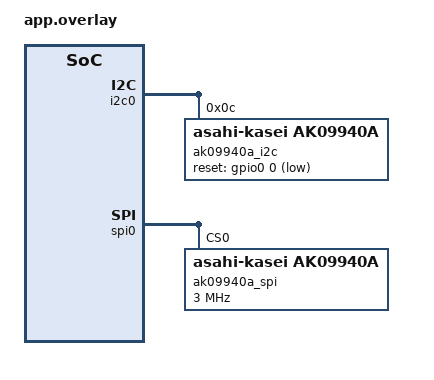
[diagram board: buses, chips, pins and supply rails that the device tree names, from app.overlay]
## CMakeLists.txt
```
# SPDX-FileCopyrightText: Copyright The Zephyr Project Contributors
# SPDX-License-Identifier: Apache-2.0

cmake_minimum_required(VERSION 3.28.0)
find_package(Zephyr REQUIRED HINTS $ENV{ZEPHYR_BASE})
project(ak09940a)

target_sources(app PRIVATE src/main.c)
```

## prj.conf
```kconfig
# SPDX-FileCopyrightText: Copyright The Zephyr Project Contributors
# SPDX-License-Identifier: Apache-2.0

CONFIG_ZTEST=y
CONFIG_EMUL=y
CONFIG_SENSOR=y
CONFIG_SENSOR_ASYNC_API=y
```

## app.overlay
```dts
/*
 * SPDX-FileCopyrightText: Copyright The Zephyr Project Contributors
 * SPDX-License-Identifier: Apache-2.0
 */

&i2c0 {
	ak09940a_i2c: ak09940a@c {
		compatible = "asahi-kasei,ak09940a";
		reg = <0x0c>;
		reset-gpios = <&gpio0 0 GPIO_ACTIVE_LOW>;
		sensor-drive = "low-noise-2";
	};
};

&spi0 {
	ak09940a_spi: ak09940a@0 {
		compatible = "asahi-kasei,ak09940a";
		reg = <0>;
		spi-max-frequency = <3000000>;
		sensor-drive = "ultra-low-power";
	};
};
```

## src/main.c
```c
/*
 * SPDX-FileCopyrightText: Copyright The Zephyr Project Contributors
 * SPDX-License-Identifier: Apache-2.0
 */

#include <zephyr/device.h>
#include <zephyr/devicetree.h>
#include <zephyr/drivers/emul.h>
#include <zephyr/drivers/gpio/gpio_emul.h>
#include <zephyr/drivers/sensor.h>
#include <zephyr/drivers/sensor_data_types.h>
#include <zephyr/rtio/rtio.h>
#include <zephyr/sys/byteorder.h>
#include <zephyr/ztest.h>

#include "ak09940a_emul.h"
#include "ak09940a_reg.h"

#define I2C_NODE DT_NODELABEL(ak09940a_i2c)
#define SPI_NODE DT_NODELABEL(ak09940a_spi)

#define RAW_MAX 131070
#define RAW_MIN (-131072)

struct ak09940a_fixture {
	const struct device *dev;
	const struct emul *target;
	struct rtio_iodev *iodev;
	/* CNTL3 drive bits and fastest continuous mode of the configured sensor drive */
	uint8_t cntl3_mt;
	int32_t max_odr;
	uint8_t max_mode;
};

SENSOR_DT_READ_IODEV(ak09940a_i2c_iodev, I2C_NODE, {SENSOR_CHAN_MAGN_XYZ, 0},
		     {SENSOR_CHAN_DIE_TEMP, 0});
SENSOR_DT_READ_IODEV(ak09940a_spi_iodev, SPI_NODE, {SENSOR_CHAN_MAGN_XYZ, 0},
		     {SENSOR_CHAN_DIE_TEMP, 0});
SENSOR_DT_READ_IODEV(ak09940a_mixed_iodev, I2C_NODE, {SENSOR_CHAN_ACCEL_X, 0},
		     {SENSOR_CHAN_MAGN_XYZ, 0});
SENSOR_DT_READ_IODEV(ak09940a_accel_iodev, I2C_NODE, {SENSOR_CHAN_ACCEL_X, 0});

/* The executor frees a submission after posting its completion, so allow one in flight */
RTIO_DEFINE(ak09940a_rtio, 2, 2);

static const struct ak09940a_fixture fixtures[] = {
	{
		/* low-noise-2 */
		.dev = DEVICE_DT_GET(I2C_NODE),
		.target = EMUL_DT_GET(I2C_NODE),
		.iodev = &ak09940a_i2c_iodev,
		.cntl3_mt = 0x60,
		.max_odr = 200,
		.max_mode = AK09940A_MODE_CONT_200HZ,
	},
	{
		/* ultra-low-power */
		.dev = DEVICE_DT_GET(SPI_NODE),
		.target = EMUL_DT_GET(SPI_NODE),
		.iodev = &ak09940a_spi_iodev,
		.cntl3_mt = 0x00,
		.max_odr = 2500,
		.max_mode = AK09940A_MODE_CONT_2500HZ,
	},
};

static void set_measurement(const struct emul *target, int32_t x, int32_t y, int32_t z, int8_t tmps)
{
	uint8_t regs[10];

	/* 18-bit two's complement, the high byte repeats the sign bit */
	sys_put_le24((uint32_t)x, &regs[0]);
	sys_put_le24((uint32_t)y, &regs[3]);
	sys_put_le24((uint32_t)z, &regs[6]);
	regs[9] = (uint8_t)tmps;
	ak09940a_emul_set_reg(target, AK09940A_REG_HXL, regs, sizeof(regs));
}

static uint8_t get_reg(const struct emul *target, uint8_t reg)
{
	uint8_t val;

	ak09940a_emul_get_reg(target, reg, &val, 1);

	return val;
}

static void assert_value(const struct sensor_value *val, int32_t val1, int32_t val2)
{
	zassert_equal(val->val1, val1, "val1: expected %d, got %d", val1, val->val1);
	zassert_equal(val->val2, val2, "val2: expected %d, got %d", val2, val->val2);
}

static int64_t q31_to_micro(q31_t value, int8_t shift)
{
	return (((int64_t)value << shift) * 1000000) / (INT64_C(1) << 31);
}

static void ak09940a_after(void *f)
{
	const struct sensor_value off = {0};

	ARG_UNUSED(f);

	ARRAY_FOR_EACH_PTR(fixtures, fixture) {
		zassert_ok(sensor_attr_set(fixture->dev, SENSOR_CHAN_MAGN_XYZ,
					   SENSOR_ATTR_SAMPLING_FREQUENCY, &off));
	}
}

ZTEST_SUITE(ak09940a, NULL, NULL, NULL, ak09940a_after, NULL);

ZTEST(ak09940a, test_init)
{
	const struct device *gpio = DEVICE_DT_GET(DT_GPIO_CTLR(I2C_NODE, reset_gpios));

	ARRAY_FOR_EACH_PTR(fixtures, fixture) {
		zassert_true(device_is_ready(fixture->dev));
		/* Temperature measurement enabled */
		zassert_equal(get_reg(fixture->target, AK09940A_REG_CNTL2), AK09940A_CNTL2_TEM);
	}

	/* Reset line released */
	zassert_equal(gpio_emul_output_get(gpio, DT_GPIO_PIN(I2C_NODE, reset_gpios)), 1);

	zassert_equal(get_reg(fixtures[0].target, AK09940A_REG_CNTL1), 0);
	zassert_equal(get_reg(fixtures[0].target, AK09940A_REG_I2CDIS), 0);

	/* Ultra low power drive, I2C interface disabled on SPI */
	zassert_equal(get_reg(fixtures[1].target, AK09940A_REG_CNTL1), AK09940A_CNTL1_MT2);
	zassert_equal(get_reg(fixtures[1].target, AK09940A_REG_I2CDIS), AK09940A_I2CDIS_DISABLE);
}

ZTEST(ak09940a, test_fetch_single)
{
	struct sensor_value magn[3];
	struct sensor_value val;

	ARRAY_FOR_EACH_PTR(fixtures, fixture) {
		set_measurement(fixture->target, RAW_MAX, RAW_MIN, -1, 0);

		zassert_ok(sensor_sample_fetch(fixture->dev));

		/* Single measurement started with the drive bits, then back to power-down */
		zassert_equal(get_reg(fixture->target, AK09940A_REG_CNTL3), fixture->cntl3_mt);
		zassert_equal(get_reg(fixture->target, AK09940A_REG_ST1) & AK099XX_ST1_DRDY, 0);

		/* 10 nT (0.1 mG) per LSB */
		zassert_ok(sensor_channel_get(fixture->dev, SENSOR_CHAN_MAGN_XYZ, magn));
		assert_value(&magn[0], 13, 107000);
		assert_value(&magn[1], -13, -107200);
		assert_value(&magn[2], 0, -100);

		zassert_ok(sensor_channel_get(fixture->dev, SENSOR_CHAN_MAGN_Y, &val));
		assert_value(&val, -13, -107200);

		zassert_ok(sensor_channel_get(fixture->dev, SENSOR_CHAN_DIE_TEMP, &val));
		assert_value(&val, 30, 0);
	}
}

ZTEST(ak09940a, test_fetch_temperature)
{
	/* Temperature = 30 - TMPS / 1.7 */
	static const struct {
		int8_t tmps;
		int32_t val1;
		int32_t val2;
	} cases[] = {
		{1, 29, 411765},
		{-1, 30, 588235},
		{INT8_MAX, -44, -705882},
		{INT8_MIN, 105, 294117},
	};
	struct sensor_value val;

	ARRAY_FOR_EACH_PTR(fixtures, fixture) {
		ARRAY_FOR_EACH_PTR(cases, c) {
			set_measurement(fixture->target, 0, 0, 0, c->tmps);
			zassert_ok(sensor_sample_fetch(fixture->dev));
			zassert_ok(sensor_channel_get(fixture->dev, SENSOR_CHAN_DIE_TEMP, &val));
			assert_value(&val, c->val1, c->val2);
		}
	}
}

ZTEST(ak09940a, test_fetch_continuous)
{
	const struct sensor_value odr = {.val1 = 100};
	const uint8_t st1 = 0;
	struct sensor_value val;

	ARRAY_FOR_EACH_PTR(fixtures, fixture) {
		zassert_ok(sensor_attr_set(fixture->dev, SENSOR_CHAN_MAGN_XYZ,
					   SENSOR_ATTR_SAMPLING_FREQUENCY, &odr));
		zassert_equal(get_reg(fixture->target, AK09940A_REG_CNTL3),
			      fixture->cntl3_mt | AK099XX_MODE_CONT_100HZ);

		/* The data registers hold the last measurement even without DRDY */
		set_measurement(fixture->target, 1000, 0, 0, 0);
		ak09940a_emul_set_reg(fixture->target, AK09940A_REG_ST1, &st1, 1);

		zassert_ok(sensor_sample_fetch(fixture->dev));
		zassert_ok(sensor_channel_get(fixture->dev, SENSOR_CHAN_MAGN_X, &val));
		assert_value(&val, 0, 100000);

		/* No new single measurement was started */
		zassert_equal(get_reg(fixture->target, AK09940A_REG_CNTL3),
			      fixture->cntl3_mt | AK099XX_MODE_CONT_100HZ);
	}
}

ZTEST(ak09940a, test_sampling_frequency)
{
	/* Requests round down to a supported rate, capped by the sensor drive */
	static const struct {
		int32_t request;
		int32_t hz;
		uint8_t mode;
	} cases[] = {
		{0, 0, AK099XX_MODE_POWER_DOWN},
		{1, 10, AK099XX_MODE_CONT_10HZ},
		{20, 20, AK099XX_MODE_CONT_20HZ},
		{99, 50, AK099XX_MODE_CONT_50HZ},
		{150, 100, AK099XX_MODE_CONT_100HZ},
		{200, 200, AK09940A_MODE_CONT_200HZ},
		{999, 400, AK09940A_MODE_CONT_400HZ},
		{1000, 1000, AK09940A_MODE_CONT_1000HZ},
		{5000, 2500, AK09940A_MODE_CONT_2500HZ},
	};
	struct sensor_value val;

	ARRAY_FOR_EACH_PTR(fixtures, fixture) {
		ARRAY_FOR_EACH_PTR(cases, c) {
			const struct sensor_value odr = {.val1 = c->request};
			bool capped = c->hz > fixture->max_odr;
			int32_t hz = capped ? fixture->max_odr : c->hz;
			uint8_t mode = capped ? fixture->max_mode : c->mode;

			zassert_ok(sensor_attr_set(fixture->dev, SENSOR_CHAN_MAGN_XYZ,
						   SENSOR_ATTR_SAMPLING_FREQUENCY, &odr));
			zassert_ok(sensor_attr_get(fixture->dev, SENSOR_CHAN_MAGN_XYZ,
						   SENSOR_ATTR_SAMPLING_FREQUENCY, &val));
			assert_value(&val, hz, 0);
			zassert_equal(get_reg(fixture->target, AK09940A_REG_CNTL3),
				      fixture->cntl3_mt | mode, "request %d Hz", c->request);
		}

		zassert_equal(sensor_attr_set(fixture->dev, SENSOR_CHAN_MAGN_XYZ,
					      SENSOR_ATTR_FULL_SCALE, &val),
			      -ENOTSUP);
	}
}

ZTEST(ak09940a, test_read_decode)
{
	struct sensor_chan_spec magn_spec = {SENSOR_CHAN_MAGN_XYZ, 0};
	struct sensor_chan_spec temp_spec = {SENSOR_CHAN_DIE_TEMP, 0};
	const struct sensor_decoder_api *decoder;
	struct sensor_three_axis_data magn;
	struct sensor_q31_data temp;
	uint8_t buf[64];
	uint32_t fit;

	ARRAY_FOR_EACH_PTR(fixtures, fixture) {
		set_measurement(fixture->target, RAW_MAX, RAW_MIN, -1, INT8_MAX);

		zassert_ok(sensor_read(fixture->iodev, &ak09940a_rtio, buf, sizeof(buf)));
		zassert_ok(sensor_get_decoder(fixture->dev, &decoder));

		fit = 0;
		zassert_equal(decoder->decode(buf, magn_spec, &fit, 1, &magn), 1);
		zassert_within(q31_to_micro(magn.readings[0].x, magn.shift), 13107000, 1);
		zassert_within(q31_to_micro(magn.readings[0].y, magn.shift), -13107200, 1);
		zassert_within(q31_to_micro(magn.readings[0].z, magn.shift), -100, 1);

		fit = 0;
		zassert_equal(decoder->decode(buf, temp_spec, &fit, 1, &temp), 1);
		zassert_within(q31_to_micro(temp.readings[0].temperature, temp.shift), -44705882,
			       1);
	}
}

ZTEST(ak09940a, test_read_unsupported_channels)
{
	struct sensor_chan_spec magn_spec = {SENSOR_CHAN_MAGN_XYZ, 0};
	struct sensor_chan_spec accel_spec = {SENSOR_CHAN_ACCEL_X, 0};
	const struct sensor_decoder_api *decoder;
	struct sensor_three_axis_data magn;
	struct sensor_q31_data accel;
	uint8_t buf[64];
	uint32_t fit = 0;

	/* A read succeeds when one requested channel is supported, the decoder rejects the rest */
	set_measurement(fixtures[0].target, 1000, 0, 0, 0);
	zassert_ok(sensor_read(&ak09940a_mixed_iodev, &ak09940a_rtio, buf, sizeof(buf)));
	zassert_ok(sensor_get_decoder(fixtures[0].dev, &decoder));
	zassert_equal(decoder->decode(buf, magn_spec, &fit, 1, &magn), 1);
	fit = 0;
	zassert_equal(decoder->decode(buf, accel_spec, &fit, 1, &accel), -EINVAL);

	zassert_equal(sensor_read(&ak09940a_accel_iodev, &ak09940a_rtio, buf, sizeof(buf)),
		      -ENOTSUP);
}
```
